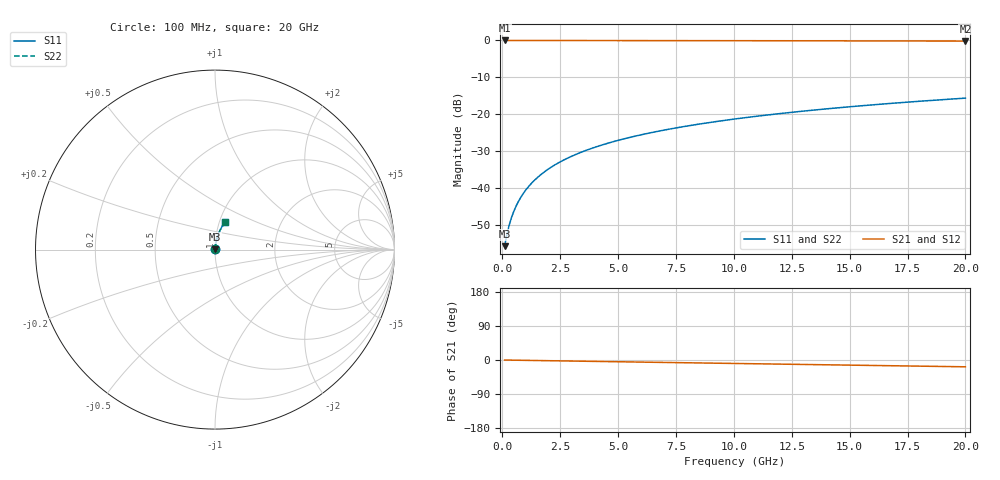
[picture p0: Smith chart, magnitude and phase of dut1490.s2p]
! Touchstone file exported from HFSS 2026.1.0
!  File:  C:/ffzhzh/LocalFiles/Ansys_Project_Files/temp_train_TMRDL_1490_1783167830_55132.aedt
!  Generated:  08:24:57 PM Jul  4, 2026
!  Design:  TMRDL
!  Project:  temp_train_TMRDL_1490_1783167830_55132
! Variables:
!  h_bsmrdl = 2um
!  h_ox = 20um
!  h_rdl = 5um
!  h_sub = 80um
!  h_tmrdl = 5.77um
!  h_tsv = 80um
!  h_via = 3um
!  l_bsmrdl = 300um
!  l_sub = 657.73um
!  l_tmrdl = 257.73um
!  m_sub = 200um
!  pitch = 31.51um
!  r_tsv = 6um
!  s_tmrdl = 10um
!  w_bsmrdl = 18um
!  w_sub = 500um
!  w_tmrdl = 12.94um
!  x_tsv_center1 = 264.2um
!  x_tsv_center2 = 582.2um
!  x_tsv_center3 = 852.87um
!  x_tsv_center4 = 1170.87um
!  x_tsv_center5 = 1441.54um
!  x_tsv_center6 = 1759.54um
# GHz S MA R 50.000000
! Terminal data exported
! Port[1] = TM_RDL1_1_T1
! Port[2] = TM_RDL1_1_T2
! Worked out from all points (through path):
!   200 points, 100 MHz to 20 GHz, reference 50 ohm
!   highest |S21| = -0.01 dB at 100 MHz (marker M1); lowest = -0.2 dB at 20 GHz (marker M2)
!   group delay of S21, straight-line fit = 2.49 ps
!   lowest |S11| = -55.7 dB at 100 MHz (marker M3), VSWR 1.00, Z = 50.1 + j0.0982 ohm
!   |S11| at or under -10 dB: start of sweep to end of sweep
!   |S22| runs from -55.7 to -15.6 dB; largest |S21 - S12| = 2.6e-15
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0.1  0.001645 36.6  0.9987 -0.1  0.9987 -0.1  0.001645 36.6
! Gamma 0 0 0 0
! Port Impedance 50 0 50 0
0.2  0.002367 54.4  0.9986 -0.2  0.9986 -0.2  0.002367 54.4
0.3  0.003183 63.3  0.9986 -0.3  0.9986 -0.3  0.003183 63.3
0.4  0.00403 68.5  0.9985 -0.4  0.9985 -0.4  0.00403 68.5
0.5  0.004893 71.9  0.9985 -0.5  0.9985 -0.5  0.004893 71.9
0.6  0.005768 74.3  0.9985 -0.6  0.9985 -0.6  0.005768 74.3
0.8  0.007538 77.4  0.9984 -0.8  0.9984 -0.8  0.007538 77.4
1.1  0.01022 79.8  0.9983 -1.0  0.9983 -1.0  0.01022 79.8
1.5  0.01381 81.4  0.9982 -1.4  0.9982 -1.4  0.01381 81.4
1.8  0.0165 81.9  0.998 -1.7  0.998 -1.7  0.0165 81.9
2.1  0.01918 82.2  0.9979 -2.0  0.9979 -2.0  0.01918 82.2
2.7  0.0245 82.4  0.9975 -2.5  0.9975 -2.5  0.0245 82.4
3.5  0.03151 82.2  0.997 -3.3  0.997 -3.3  0.03151 82.2
4.2  0.03757 81.8  0.9965 -3.9  0.9965 -3.9  0.03757 81.8
5  0.04442 81.3  0.9959 -4.6  0.9959 -4.6  0.04442 81.3
5.9  0.05205 80.7  0.9952 -5.5  0.9952 -5.5  0.05205 80.7
6.8  0.05962 80.1  0.9944 -6.3  0.9944 -6.3  0.05962 80.1
8.3  0.07211 79.0  0.9931 -7.6  0.9931 -7.6  0.07211 79.0
10.1  0.08695 77.6  0.9915 -9.2  0.9915 -9.2  0.08695 77.6
13.4  0.1137 75.1  0.988 -12.2  0.988 -12.2  0.1137 75.1
16.7  0.14 72.4  0.9841 -15.1  0.9841 -15.1  0.14 72.4
20  0.1655 69.7  0.9796 -18.0  0.9796 -18.0  0.1655 69.7
